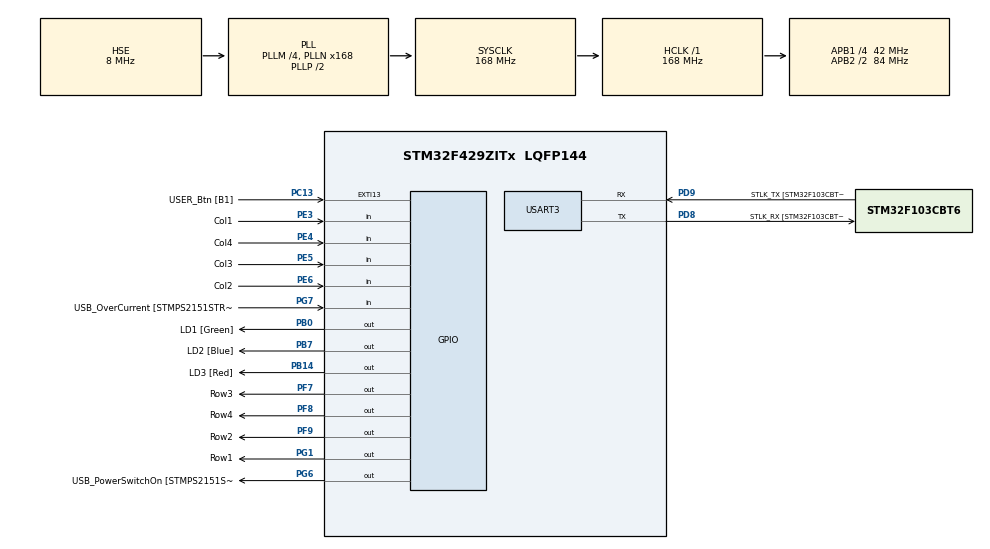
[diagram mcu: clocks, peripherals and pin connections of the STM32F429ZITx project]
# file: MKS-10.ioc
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Mcu.Family=STM32F4
Mcu.Name=STM32F429ZITx
Mcu.Package=LQFP144
NVIC.PriorityGroup=NVIC_PRIORITYGROUP_4
NVIC.TIM3_IRQn=true\:0\:0\:false\:false\:true\:true\:true\:true
PA1.GPIO_Label=RMII_REF_CLK [LAN8742A-CZ-TR_REFCLK0]
PA1.Signal=ETH_REF_CLK
PA10.GPIO_Label=USB_ID
PA10.Signal=USB_OTG_FS_ID
PA11.GPIO_Label=USB_DM
PA11.Signal=USB_OTG_FS_DM
PA12.GPIO_Label=USB_DP
PA12.Signal=USB_OTG_FS_DP
PA13.GPIO_Label=TMS
PA13.Mode=Serial_Wire
PA13.Signal=SYS_JTMS-SWDIO
PA14.GPIO_Label=TCK
PA14.Mode=Serial_Wire
PA14.Signal=SYS_JTCK-SWCLK
PA2.GPIO_Label=RMII_MDIO [LAN8742A-CZ-TR_MDIO]
PA2.Signal=ETH_MDIO
PA7.GPIO_Label=RMII_CRS_DV [LAN8742A-CZ-TR_CRS_DV]
PA7.Signal=ETH_CRS_DV
PA8.GPIO_Label=USB_SOF [TP1]
PA8.Signal=USB_OTG_FS_SOF
PA9.GPIO_Label=USB_VBUS
PA9.Signal=USB_OTG_FS_VBUS
PB0.GPIO_Label=LD1 [Green]
PB0.Signal=GPIO_Output
PB13.GPIO_Label=RMII_TXD1 [LAN8742A-CZ-TR_TXD1]
PB13.Signal=ETH_TXD1
PB14.GPIO_Label=LD3 [Red]
PB14.Signal=GPIO_Output
PB7.GPIO_Label=LD2 [Blue]
PB7.Signal=GPIO_Output
PC1.GPIO_Label=RMII_MDC [LAN8742A-CZ-TR_MDC]
PC1.Signal=ETH_MDC
PC13.GPIO_Label=USER_Btn [B1]
PC13.Signal=GPXTI13
PC14/OSC32_IN.Mode=LSE-External-Oscillator
PC14/OSC32_IN.Signal=RCC_OSC32_IN
PC15/OSC32_OUT.Mode=LSE-External-Oscillator
PC15/OSC32_OUT.Signal=RCC_OSC32_OUT
PC4.GPIO_Label=RMII_RXD0 [LAN8742A-CZ-TR_RXD0]
PC4.Signal=ETH_RXD0
PC5.GPIO_Label=RMII_RXD1 [LAN8742A-CZ-TR_RXD1]
PC5.Signal=ETH_RXD1
PD8.GPIO_Label=STLK_RX [STM32F103CBT6_PA3]
PD8.Mode=Asynchronous
PD8.Signal=USART3_TX
PD9.GPIO_Label=STLK_TX [STM32F103CBT6_PA2]
PD9.Mode=Asynchronous
PD9.Signal=USART3_RX
PE3.GPIO_Label=Col1
PE3.GPIO_PuPd=GPIO_PULLUP
PE3.Signal=GPIO_Input
PE4.GPIO_Label=Col4
PE4.GPIO_PuPd=GPIO_PULLUP
PE4.Signal=GPIO_Input
PE5.GPIO_Label=Col3
PE5.GPIO_PuPd=GPIO_PULLUP
PE5.Signal=GPIO_Input
PE6.GPIO_Label=Col2
PE6.GPIO_PuPd=GPIO_PULLUP
PE6.Signal=GPIO_Input
PF7.GPIO_Label=Row3
PF7.GPIO_ModeDefaultOutputPP=GPIO_MODE_OUTPUT_OD
PF7.GPIO_PuPd=GPIO_NOPULL
PF7.Signal=GPIO_Output
PF8.GPIO_Label=Row4
PF8.GPIO_ModeDefaultOutputPP=GPIO_MODE_OUTPUT_OD
PF8.GPIO_PuPd=GPIO_NOPULL
PF8.Signal=GPIO_Output
PF9.GPIO_Label=Row2
PF9.GPIO_ModeDefaultOutputPP=GPIO_MODE_OUTPUT_OD
PF9.GPIO_PuPd=GPIO_NOPULL
PF9.Signal=GPIO_Output
PG1.GPIO_Label=Row1
PG1.GPIO_ModeDefaultOutputPP=GPIO_MODE_OUTPUT_OD
PG1.GPIO_PuPd=GPIO_NOPULL
PG1.Signal=GPIO_Output
PG11.GPIO_Label=RMII_TX_EN [LAN8742A-CZ-TR_TXEN]
PG11.Signal=ETH_TX_EN
PG13.GPIO_Label=RMII_TXD0 [LAN8742A-CZ-TR_TXD0]
PG13.Signal=ETH_TXD0
PG6.GPIO_Label=USB_PowerSwitchOn [STMPS2151STR_EN]
PG6.Signal=GPIO_Output
PG7.GPIO_Label=USB_OverCurrent [STMPS2151STR_FAULT]
PG7.Signal=GPIO_Input
PH0/OSC_IN.GPIO_Label=MCO [STM32F103CBT6_PA8]
PH0/OSC_IN.Mode=HSE-External-Clock-Source
PH0/OSC_IN.Signal=RCC_OSC_IN
PH1/OSC_OUT.Mode=HSE-External-Clock-Source
PH1/OSC_OUT.Signal=RCC_OSC_OUT
ProjectManager.HeapSize=0x200
ProjectManager.StackSize=0x400
ProjectManager.TargetToolchain=STM32CubeIDE
RCC.48MHZClocksFreq_Value=48000000
RCC.AHBFreq_Value=168000000
RCC.APB1CLKDivider=RCC_HCLK_DIV4
RCC.APB1Freq_Value=42000000
RCC.APB1TimFreq_Value=84000000
RCC.APB2CLKDivider=RCC_HCLK_DIV2
RCC.APB2Freq_Value=84000000
RCC.APB2TimCLKDivider=2
RCC.APB2TimFreq_Value=168000000
RCC.CortexFreq_Value=168000000
RCC.HCLKFreq_Value=168000000
RCC.HSE_VALUE=8000000
RCC.HSI_VALUE=16000000
RCC.PLLM=4
RCC.PLLMUL=RCC_PLL_MUL9
RCC.PLLN=168
RCC.PLLQ=7
RCC.PLLSourceVirtual=RCC_PLLSOURCE_HSE
RCC.PRESCALERUSB=RCC_USBCLKSOURCE_PLL_DIV1_5
RCC.SYSCLKFreq_VALUE=168000000
RCC.SYSCLKSource=RCC_SYSCLKSOURCE_PLLCLK
RCC.SYSCLKSourceVirtual=RCC_SYSCLKSOURCE_PLLCLK
RCC.USBFreq_Value=48000000
RCC.VCOOutputFreq_Value=336000000
TIM3.AutoReloadPreload=TIM_AUTORELOAD_PRELOAD_ENABLE
TIM3.Period=99
TIM3.Prescaler=8399
USART3.VirtualMode=VM_ASYNC
VP_TIM3_VS_ClockSourceINT.Mode=Internal
board=NUCLEO-F429ZI

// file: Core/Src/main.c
/* USER CODE BEGIN Header */
/**
  ******************************************************************************
  * @file           : main.c
  * @brief          : Main program body
  ******************************************************************************
  * @attention
  *
  * Copyright (c) 2024 STMicroelectronics.
  * All rights reserved.
  *
  * This software is licensed under terms that can be found in the LICENSE file
  * in the root directory of this software component.
  * If no LICENSE file comes with this software, it is provided AS-IS.
  *
  ******************************************************************************
  */
/* USER CODE END Header */
#include "main.h"

/* USER CODE BEGIN Includes */
#include <stdio.h>
/* USER CODE END Includes */

TIM_HandleTypeDef htim3;

UART_HandleTypeDef huart3;

/* USER CODE BEGIN PV */
static volatile char key;
/* USER CODE END PV */

void SystemClock_Config(void);
static void MX_GPIO_Init(void);
static void MX_USART3_UART_Init(void);
static void MX_TIM3_Init(void);

/* USER CODE BEGIN 0 */
int __io_putchar(int ch) {
	ITM_SendChar(ch);
	return 0;
}

void HAL_TIM_PeriodElapsedCallback(TIM_HandleTypeDef *htim)
{
	static uint8_t row = 0;
	static const char keyboard[4][4] = {
			{ '1', '2', '3', 'A' },
			{ '4', '5', '6', 'B' },
			{ '7', '8', '9', 'C' },
			{ '*', '0', '#', 'D' },
	};
	if (key == 0) {
		if (HAL_GPIO_ReadPin(Col1_GPIO_Port, Col1_Pin) == GPIO_PIN_RESET) {
			key = keyboard[row][0];
		}
		if (HAL_GPIO_ReadPin(Col2_GPIO_Port, Col2_Pin) == GPIO_PIN_RESET) {
			key = keyboard[row][1];
		}
		if (HAL_GPIO_ReadPin(Col3_GPIO_Port, Col3_Pin) == GPIO_PIN_RESET) {
					key = keyboard[row][2];
		}
		if (HAL_GPIO_ReadPin(Col4_GPIO_Port, Col4_Pin) == GPIO_PIN_RESET) {
					key = keyboard[row][3];
		}
	}
	HAL_GPIO_WritePin(Row1_GPIO_Port, Row1_Pin, GPIO_PIN_SET);
	HAL_GPIO_WritePin(Row2_GPIO_Port, Row2_Pin, GPIO_PIN_SET);
	HAL_GPIO_WritePin(Row3_GPIO_Port, Row3_Pin, GPIO_PIN_SET);
	HAL_GPIO_WritePin(Row4_GPIO_Port, Row4_Pin, GPIO_PIN_SET);
	switch (row) {
	case 0:	row = 1; HAL_GPIO_WritePin(Row2_GPIO_Port, Row2_Pin, GPIO_PIN_RESET); break;
	case 1:	row = 2; HAL_GPIO_WritePin(Row3_GPIO_Port, Row3_Pin, GPIO_PIN_RESET); break;
	case 2:	row = 3; HAL_GPIO_WritePin(Row4_GPIO_Port, Row4_Pin, GPIO_PIN_RESET); break;
	case 3:	row = 0; HAL_GPIO_WritePin(Row1_GPIO_Port, Row1_Pin, GPIO_PIN_RESET); break;
	}
}

/* USER CODE END 0 */

int main(void)
{

  /* MCU Configuration--------------------------------------------------------*/

  /* Reset of all peripherals, Initializes the Flash interface and the Systick. */
  HAL_Init();

  /* Configure the system clock */
  SystemClock_Config();

  /* Initialize all configured peripherals */
  MX_GPIO_Init();
  MX_USART3_UART_Init();
  MX_TIM3_Init();
  /* USER CODE BEGIN 2 */
  HAL_TIM_Base_Start_IT(&htim3);
  const char password[] = { '7', '9', '3', '2', '#' };
  uint8_t pw_i = 0;
  uint8_t error = 0;
  uint8_t reset = 1;
  uint32_t time = 0;
  printf("Zadejte heslo:\n");
  /* USER CODE END 2 */

  /* Infinite loop */
  /* USER CODE BEGIN WHILE */
  while (1)
  {
	  /*printf("Tick\n");
	  HAL_GPIO_TogglePin(LD1_GPIO_Port, LD1_Pin);
	  HAL_Delay(250);*/
	  if (time == 0) {
		  time = HAL_GetTick();
	  }
	  if (HAL_GetTick() > time+2000 && (pw_i != 0) && (reset != 1)) {
		  pw_i = 0;
		  error = 0;
		  reset = 0;
		  printf("Vyprsel cas, zadejte heslo znovu:\n");
	  }
	  if (key != 0) {
		  //printf("pressed '%c'\n", key);
		  //HAL_Delay(500);
		  if (reset == 1) {
			  pw_i = 0;
		  }
		  printf("*\n");
		  if (key != password[pw_i]) {
		  	  error = 1;
		  }
		  if (error) {
			  printf("Spatne heslo!\n");
			  printf("Zadejte znovu:\n");
			  pw_i = 0;
			  error = 0;
			  reset = 1;
		  } else {
			  reset = 0;
		  }
		  if (pw_i >= 4){
			  if (error) {
				  printf("\nSpatne heslo!\n");
			  } else {
				  printf("\nSpravne!\n");
			  }
		  }
		  //printf("Key to compare: %c\n", password[pw_i]);
		  //printf("Pressed key: %c\n", key);
		  //printf("Error: %u\n", error);
		  pw_i++;
		  HAL_Delay(200);
		  key = 0;
		  if (pw_i >= 5) {
			  error = 0;
			  pw_i = 0;
		  }
		  time = HAL_GetTick();

	  }
    /* USER CODE END WHILE */

  }
}

void SystemClock_Config(void)
{
  RCC_OscInitTypeDef RCC_OscInitStruct = {0};
  RCC_ClkInitTypeDef RCC_ClkInitStruct = {0};

  /** Configure the main internal regulator output voltage
  */
  __HAL_RCC_PWR_CLK_ENABLE();
  __HAL_PWR_VOLTAGESCALING_CONFIG(PWR_REGULATOR_VOLTAGE_SCALE1);

  /** Initializes the RCC Oscillators according to the specified parameters
  * in the RCC_OscInitTypeDef structure.
  */
  RCC_OscInitStruct.OscillatorType = RCC_OSCILLATORTYPE_HSE;
  RCC_OscInitStruct.HSEState = RCC_HSE_BYPASS;
  RCC_OscInitStruct.PLL.PLLState = RCC_PLL_ON;
  RCC_OscInitStruct.PLL.PLLSource = RCC_PLLSOURCE_HSE;
  RCC_OscInitStruct.PLL.PLLM = 4;
  RCC_OscInitStruct.PLL.PLLN = 168;
  RCC_OscInitStruct.PLL.PLLP = RCC_PLLP_DIV2;
  RCC_OscInitStruct.PLL.PLLQ = 7;
  if (HAL_RCC_OscConfig(&RCC_OscInitStruct) != HAL_OK)
  {
    Error_Handler();
  }

  /** Initializes the CPU, AHB and APB buses clocks
  */
  RCC_ClkInitStruct.ClockType = RCC_CLOCKTYPE_HCLK|RCC_CLOCKTYPE_SYSCLK
                              |RCC_CLOCKTYPE_PCLK1|RCC_CLOCKTYPE_PCLK2;
  RCC_ClkInitStruct.SYSCLKSource = RCC_SYSCLKSOURCE_PLLCLK;
  RCC_ClkInitStruct.AHBCLKDivider = RCC_SYSCLK_DIV1;
  RCC_ClkInitStruct.APB1CLKDivider = RCC_HCLK_DIV4;
  RCC_ClkInitStruct.APB2CLKDivider = RCC_HCLK_DIV2;

  if (HAL_RCC_ClockConfig(&RCC_ClkInitStruct, FLASH_LATENCY_5) != HAL_OK)
  {
    Error_Handler();
  }
}

static void MX_TIM3_Init(void)
{

  TIM_ClockConfigTypeDef sClockSourceConfig = {0};
  TIM_MasterConfigTypeDef sMasterConfig = {0};

  htim3.Instance = TIM3;
  htim3.Init.Prescaler = 8399;
  htim3.Init.CounterMode = TIM_COUNTERMODE_UP;
  htim3.Init.Period = 99;
  htim3.Init.ClockDivision = TIM_CLOCKDIVISION_DIV1;
  htim3.Init.AutoReloadPreload = TIM_AUTORELOAD_PRELOAD_ENABLE;
  if (HAL_TIM_Base_Init(&htim3) != HAL_OK)
  {
    Error_Handler();
  }
  sClockSourceConfig.ClockSource = TIM_CLOCKSOURCE_INTERNAL;
  if (HAL_TIM_ConfigClockSource(&htim3, &sClockSourceConfig) != HAL_OK)
  {
    Error_Handler();
  }
  sMasterConfig.MasterOutputTrigger = TIM_TRGO_RESET;
  sMasterConfig.MasterSlaveMode = TIM_MASTERSLAVEMODE_DISABLE;
  if (HAL_TIMEx_MasterConfigSynchronization(&htim3, &sMasterConfig) != HAL_OK)
  {
    Error_Handler();
  }

}

static void MX_USART3_UART_Init(void)
{

  huart3.Instance = USART3;
  huart3.Init.BaudRate = 115200;
  huart3.Init.WordLength = UART_WORDLENGTH_8B;
  huart3.Init.StopBits = UART_STOPBITS_1;
  huart3.Init.Parity = UART_PARITY_NONE;
  huart3.Init.Mode = UART_MODE_TX_RX;
  huart3.Init.HwFlowCtl = UART_HWCONTROL_NONE;
  huart3.Init.OverSampling = UART_OVERSAMPLING_16;
  if (HAL_UART_Init(&huart3) != HAL_OK)
  {
    Error_Handler();
  }

}

static void MX_GPIO_Init(void)
{
  GPIO_InitTypeDef GPIO_InitStruct = {0};

  /* GPIO Ports Clock Enable */
  __HAL_RCC_GPIOE_CLK_ENABLE();
  __HAL_RCC_GPIOC_CLK_ENABLE();
  __HAL_RCC_GPIOF_CLK_ENABLE();
  __HAL_RCC_GPIOH_CLK_ENABLE();
  __HAL_RCC_GPIOA_CLK_ENABLE();
  __HAL_RCC_GPIOB_CLK_ENABLE();
  __HAL_RCC_GPIOG_CLK_ENABLE();
  __HAL_RCC_GPIOD_CLK_ENABLE();

  /*Configure GPIO pin Output Level */
  HAL_GPIO_WritePin(GPIOF, Row3_Pin|Row4_Pin|Row2_Pin, GPIO_PIN_RESET);

  /*Configure GPIO pin Output Level */
  HAL_GPIO_WritePin(GPIOB, LD1_Pin|LD3_Pin|LD2_Pin, GPIO_PIN_RESET);

  /*Configure GPIO pin Output Level */
  HAL_GPIO_WritePin(GPIOG, Row1_Pin|USB_PowerSwitchOn_Pin, GPIO_PIN_RESET);

  /*Configure GPIO pins : Col1_Pin Col4_Pin Col3_Pin Col2_Pin */
  GPIO_InitStruct.Pin = Col1_Pin|Col4_Pin|Col3_Pin|Col2_Pin;
  GPIO_InitStruct.Mode = GPIO_MODE_INPUT;
  GPIO_InitStruct.Pull = GPIO_PULLUP;
  HAL_GPIO_Init(GPIOE, &GPIO_InitStruct);

  /*Configure GPIO pin : USER_Btn_Pin */
  GPIO_InitStruct.Pin = USER_Btn_Pin;
  GPIO_InitStruct.Mode = GPIO_MODE_IT_RISING;
  GPIO_InitStruct.Pull = GPIO_NOPULL;
  HAL_GPIO_Init(USER_Btn_GPIO_Port, &GPIO_InitStruct);

  /*Configure GPIO pins : Row3_Pin Row4_Pin Row2_Pin */
  GPIO_InitStruct.Pin = Row3_Pin|Row4_Pin|Row2_Pin;
  GPIO_InitStruct.Mode = GPIO_MODE_OUTPUT_OD;
  GPIO_InitStruct.Pull = GPIO_NOPULL;
  GPIO_InitStruct.Speed = GPIO_SPEED_FREQ_LOW;
  HAL_GPIO_Init(GPIOF, &GPIO_InitStruct);

  /*Configure GPIO pins : RMII_MDC_Pin RMII_RXD0_Pin RMII_RXD1_Pin */
  GPIO_InitStruct.Pin = RMII_MDC_Pin|RMII_RXD0_Pin|RMII_RXD1_Pin;
  GPIO_InitStruct.Mode = GPIO_MODE_AF_PP;
  GPIO_InitStruct.Pull = GPIO_NOPULL;
  GPIO_InitStruct.Speed = GPIO_SPEED_FREQ_VERY_HIGH;
  GPIO_InitStruct.Alternate = GPIO_AF11_ETH;
  HAL_GPIO_Init(GPIOC, &GPIO_InitStruct);

  /*Configure GPIO pins : RMII_REF_CLK_Pin RMII_MDIO_Pin RMII_CRS_DV_Pin */
  GPIO_InitStruct.Pin = RMII_REF_CLK_Pin|RMII_MDIO_Pin|RMII_CRS_DV_Pin;
  GPIO_InitStruct.Mode = GPIO_MODE_AF_PP;
  GPIO_InitStruct.Pull = GPIO_NOPULL;
  GPIO_InitStruct.Speed = GPIO_SPEED_FREQ_VERY_HIGH;
  GPIO_InitStruct.Alternate = GPIO_AF11_ETH;
  HAL_GPIO_Init(GPIOA, &GPIO_InitStruct);

  /*Configure GPIO pins : LD1_Pin LD3_Pin LD2_Pin */
  GPIO_InitStruct.Pin = LD1_Pin|LD3_Pin|LD2_Pin;
  GPIO_InitStruct.Mode = GPIO_MODE_OUTPUT_PP;
  GPIO_InitStruct.Pull = GPIO_NOPULL;
  GPIO_InitStruct.Speed = GPIO_SPEED_FREQ_LOW;
  HAL_GPIO_Init(GPIOB, &GPIO_InitStruct);

  /*Configure GPIO pin : Row1_Pin */
  GPIO_InitStruct.Pin = Row1_Pin;
  GPIO_InitStruct.Mode = GPIO_MODE_OUTPUT_OD;
  GPIO_InitStruct.Pull = GPIO_NOPULL;
  GPIO_InitStruct.Speed = GPIO_SPEED_FREQ_LOW;
  HAL_GPIO_Init(Row1_GPIO_Port, &GPIO_InitStruct);

  /*Configure GPIO pin : RMII_TXD1_Pin */
  GPIO_InitStruct.Pin = RMII_TXD1_Pin;
  GPIO_InitStruct.Mode = GPIO_MODE_AF_PP;
  GPIO_InitStruct.Pull = GPIO_NOPULL;
  GPIO_InitStruct.Speed = GPIO_SPEED_FREQ_VERY_HIGH;
  GPIO_InitStruct.Alternate = GPIO_AF11_ETH;
  HAL_GPIO_Init(RMII_TXD1_GPIO_Port, &GPIO_InitStruct);

  /*Configure GPIO pin : USB_PowerSwitchOn_Pin */
  GPIO_InitStruct.Pin = USB_PowerSwitchOn_Pin;
  GPIO_InitStruct.Mode = GPIO_MODE_OUTPUT_PP;
  GPIO_InitStruct.Pull = GPIO_NOPULL;
  GPIO_InitStruct.Speed = GPIO_SPEED_FREQ_LOW;
  HAL_GPIO_Init(USB_PowerSwitchOn_GPIO_Port, &GPIO_InitStruct);

  /*Configure GPIO pin : USB_OverCurrent_Pin */
  GPIO_InitStruct.Pin = USB_OverCurrent_Pin;
  GPIO_InitStruct.Mode = GPIO_MODE_INPUT;
  GPIO_InitStruct.Pull = GPIO_NOPULL;
  HAL_GPIO_Init(USB_OverCurrent_GPIO_Port, &GPIO_InitStruct);

  /*Configure GPIO pins : USB_SOF_Pin USB_ID_Pin USB_DM_Pin USB_DP_Pin */
  GPIO_InitStruct.Pin = USB_SOF_Pin|USB_ID_Pin|USB_DM_Pin|USB_DP_Pin;
  GPIO_InitStruct.Mode = GPIO_MODE_AF_PP;
  GPIO_InitStruct.Pull = GPIO_NOPULL;
  GPIO_InitStruct.Speed = GPIO_SPEED_FREQ_VERY_HIGH;
  GPIO_InitStruct.Alternate = GPIO_AF10_OTG_FS;
  HAL_GPIO_Init(GPIOA, &GPIO_InitStruct);

  /*Configure GPIO pin : USB_VBUS_Pin */
  GPIO_InitStruct.Pin = USB_VBUS_Pin;
  GPIO_InitStruct.Mode = GPIO_MODE_INPUT;
  GPIO_InitStruct.Pull = GPIO_NOPULL;
  HAL_GPIO_Init(USB_VBUS_GPIO_Port, &GPIO_InitStruct);

  /*Configure GPIO pins : RMII_TX_EN_Pin RMII_TXD0_Pin */
  GPIO_InitStruct.Pin = RMII_TX_EN_Pin|RMII_TXD0_Pin;
  GPIO_InitStruct.Mode = GPIO_MODE_AF_PP;
  GPIO_InitStruct.Pull = GPIO_NOPULL;
  GPIO_InitStruct.Speed = GPIO_SPEED_FREQ_VERY_HIGH;
  GPIO_InitStruct.Alternate = GPIO_AF11_ETH;
  HAL_GPIO_Init(GPIOG, &GPIO_InitStruct);

}

void Error_Handler(void)
{
  __disable_irq();
  while (1)
  {
  }
}
